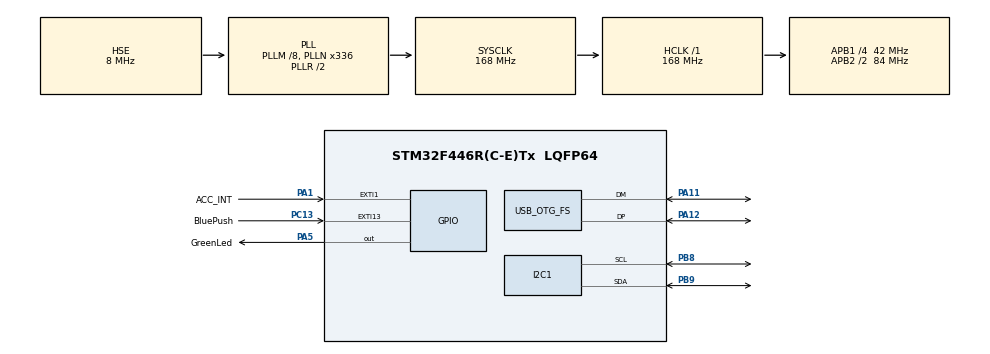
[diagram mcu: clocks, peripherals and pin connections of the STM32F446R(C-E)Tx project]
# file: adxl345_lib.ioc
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Mcu.Family=STM32F4
Mcu.Name=STM32F446R(C-E)Tx
Mcu.Package=LQFP64
NVIC.EXTI15_10_IRQn=true\:0\:0\:false\:false\:true\:true\:true
NVIC.EXTI1_IRQn=true\:0\:0\:false\:false\:true\:true\:true
NVIC.OTG_FS_IRQn=true\:0\:0\:false\:false\:true\:false\:true
NVIC.PriorityGroup=NVIC_PRIORITYGROUP_0
PA1.GPIO_Label=ACC_INT
PA1.GPIO_ModeDefaultEXTI=GPIO_MODE_IT_RISING_FALLING
PA1.Signal=GPXTI1
PA11.Mode=Device_Only
PA11.Signal=USB_OTG_FS_DM
PA12.Mode=Device_Only
PA12.Signal=USB_OTG_FS_DP
PA13.GPIO_Label=TMS
PA13.Mode=Serial_Wire
PA13.Signal=SYS_JTMS-SWDIO
PA14.GPIO_Label=TCK
PA14.Mode=Serial_Wire
PA14.Signal=SYS_JTCK-SWCLK
PA2.GPIO_Label=USART_TX
PA2.Signal=USART2_TX
PA3.GPIO_Label=USART_RX
PA3.Signal=USART2_RX
PA5.GPIO_Label=GreenLed
PA5.Signal=GPIO_Output
PB3.GPIO_Label=SWO
PB3.Signal=SYS_JTDO-SWO
PB8.Mode=I2C
PB8.Signal=I2C1_SCL
PB9.Mode=I2C
PB9.Signal=I2C1_SDA
PC13.GPIO_Label=BluePush
PC13.GPIO_ModeDefaultEXTI=GPIO_MODE_IT_FALLING
PC13.Signal=GPXTI13
PC14-OSC32_IN.Signal=RCC_OSC32_IN
PC15-OSC32_OUT.Signal=RCC_OSC32_OUT
PH0-OSC_IN.Mode=HSE-External-Oscillator
PH0-OSC_IN.Signal=RCC_OSC_IN
PH1-OSC_OUT.Mode=HSE-External-Oscillator
PH1-OSC_OUT.Signal=RCC_OSC_OUT
ProjectManager.HeapSize=0x200
ProjectManager.StackSize=0x400
ProjectManager.TargetToolchain=STM32CubeIDE
RCC.AHBFreq_Value=168000000
RCC.APB1CLKDivider=RCC_HCLK_DIV4
RCC.APB1Freq_Value=42000000
RCC.APB1TimFreq_Value=84000000
RCC.APB2CLKDivider=RCC_HCLK_DIV2
RCC.APB2Freq_Value=84000000
RCC.APB2TimFreq_Value=168000000
RCC.CortexFreq_Value=168000000
RCC.FLatency-AdvancedSettings=FLASH_LATENCY_5
RCC.HCLKFreq_Value=168000000
RCC.HSE_VALUE=8000000
RCC.HSI_VALUE=16000000
RCC.LSE_VALUE=32768
RCC.PLLM=8
RCC.PLLN=336
RCC.PLLQ=7
RCC.SYSCLKFreq_VALUE=168000000
RCC.SYSCLKSource=RCC_SYSCLKSOURCE_PLLRCLK
RCC.USBFreq_Value=48000000
RCC.VCOOutputFreq_Value=336000000
USB_DEVICE.CLASS_NAME_FS=CDC
USB_DEVICE.VirtualMode-CDC_FS=Cdc
USB_DEVICE.VirtualModeFS=Cdc_FS
USB_OTG_FS.VirtualMode=Device_Only
VP_USB_DEVICE_VS_USB_DEVICE_CDC_FS.Mode=CDC_FS
board=NUCLEO-F446RE

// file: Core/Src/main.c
/* USER CODE BEGIN Header */
/**
  ******************************************************************************
  * @file           : main.c
  * @brief          : Main program body
  ******************************************************************************
  * @attention
  *
  * <h2><center>&copy; Copyright (c) 2021 STMicroelectronics.
  * All rights reserved.</center></h2>
  *
  * This software component is licensed by ST under BSD 3-Clause license,
  * the "License"; You may not use this file except in compliance with the
  * License. You may obtain a copy of the License at:
  *                        opensource.org/licenses/BSD-3-Clause
  *
  ******************************************************************************
  */
/* USER CODE END Header */
#include "main.h"
#include "usb_device.h"

/* USER CODE BEGIN Includes */
// Included in order to use the usb virtual com port
#include "usbd_cdc_if.h"
#include "adxl345.h"

/* USER CODE END Includes */

/* USER CODE BEGIN PD */
#define SAMPLE_TIME_LOG_MS 100
/* USER CODE END PD */

I2C_HandleTypeDef hi2c1;

/* USER CODE BEGIN PV */
ADXL345 acc;

uint8_t accDataReady;
/* USER CODE END PV */

void SystemClock_Config(void);
static void MX_GPIO_Init(void);
static void MX_I2C1_Init(void);

/* USER CODE BEGIN 0 */
void HAL_GPIO_EXTI_Callback(uint16_t GPIO_Pin){

	if ( GPIO_Pin == ACC_INT_Pin ) {
			/* Set data ready flag (checked in main while() loop) */
			accDataReady = 1;
		}
	/* Check Blue Push button if presses */
	if ( GPIO_Pin == BluePush_Pin ) {
			/* Toggle LED */
			HAL_GPIO_TogglePin(GreenLed_GPIO_Port, GreenLed_Pin);
			accDataReady = 1;
			}
}

/* USER CODE END 0 */

int main(void)
{

  /* MCU Configuration--------------------------------------------------------*/

  /* Reset of all peripherals, Initializes the Flash interface and the Systick. */
  HAL_Init();

  /* Configure the system clock */
  SystemClock_Config();

  /* Initialize all configured peripherals */
  MX_GPIO_Init();
  MX_I2C1_Init();
  MX_USB_DEVICE_Init();
  /* USER CODE BEGIN 2 */

  /* Initialize accelerometer */
  uint8_t comErrors = 0;
  comErrors = ADXL345_Initialise(&acc, &hi2c1);

  /* USB data buffer */
  char usbBuf[64];

  /* Timers */
  uint32_t timerLog;

  /* USER CODE END 2 */

  /* Infinite loop */
  while (1)
  {

    /* USER CODE BEGIN 3 */

	  /* Sample & send accelerometer readings via virtual COM port (USB) */
	  if ((HAL_GetTick() - timerLog) >= SAMPLE_TIME_LOG_MS){

		  ADXL345_ReadAcceleration(&acc);

		  // Logging via COM PORT
		  uint8_t usbBufLen = snprintf(usbBuf, 64, "%.2f,%.2f,%.2f\r\n",
				  acc.acc_mps2[0], acc.acc_mps2[1], acc.acc_mps2[2]);
		  CDC_Transmit_FS((uint8_t *) usbBuf, usbBufLen);

		  timerLog += SAMPLE_TIME_LOG_MS;
	  }

	  /* Toggle LED */
//	  if ((HAL_GetTick() - timerLED) >= SAMPLE_TIME_LED_MS){
//
//		  HAL_GPIO_TogglePin(LED_GPIO_Port, LED_Pin);
//
//		  timerLED += SAMPLE_TIME_LED_MS;
//	  }

  }
  /* USER CODE END 3 */
}

void SystemClock_Config(void)
{
  RCC_OscInitTypeDef RCC_OscInitStruct = {0};
  RCC_ClkInitTypeDef RCC_ClkInitStruct = {0};

  /** Configure the main internal regulator output voltage
  */
  __HAL_RCC_PWR_CLK_ENABLE();
  __HAL_PWR_VOLTAGESCALING_CONFIG(PWR_REGULATOR_VOLTAGE_SCALE1);
  /** Initializes the RCC Oscillators according to the specified parameters
  * in the RCC_OscInitTypeDef structure.
  */
  RCC_OscInitStruct.OscillatorType = RCC_OSCILLATORTYPE_HSE;
  RCC_OscInitStruct.HSEState = RCC_HSE_ON;
  RCC_OscInitStruct.PLL.PLLState = RCC_PLL_ON;
  RCC_OscInitStruct.PLL.PLLSource = RCC_PLLSOURCE_HSE;
  RCC_OscInitStruct.PLL.PLLM = 8;
  RCC_OscInitStruct.PLL.PLLN = 336;
  RCC_OscInitStruct.PLL.PLLP = RCC_PLLP_DIV2;
  RCC_OscInitStruct.PLL.PLLQ = 7;
  RCC_OscInitStruct.PLL.PLLR = 2;
  if (HAL_RCC_OscConfig(&RCC_OscInitStruct) != HAL_OK)
  {
    Error_Handler();
  }
  /** Initializes the CPU, AHB and APB buses clocks
  */
  RCC_ClkInitStruct.ClockType = RCC_CLOCKTYPE_HCLK|RCC_CLOCKTYPE_SYSCLK
                              |RCC_CLOCKTYPE_PCLK1|RCC_CLOCKTYPE_PCLK2;
  RCC_ClkInitStruct.SYSCLKSource = RCC_SYSCLKSOURCE_PLLRCLK;
  RCC_ClkInitStruct.AHBCLKDivider = RCC_SYSCLK_DIV1;
  RCC_ClkInitStruct.APB1CLKDivider = RCC_HCLK_DIV4;
  RCC_ClkInitStruct.APB2CLKDivider = RCC_HCLK_DIV2;

  if (HAL_RCC_ClockConfig(&RCC_ClkInitStruct, FLASH_LATENCY_5) != HAL_OK)
  {
    Error_Handler();
  }
}

static void MX_I2C1_Init(void)
{

  hi2c1.Instance = I2C1;
  hi2c1.Init.ClockSpeed = 100000;
  hi2c1.Init.DutyCycle = I2C_DUTYCYCLE_2;
  hi2c1.Init.OwnAddress1 = 0;
  hi2c1.Init.AddressingMode = I2C_ADDRESSINGMODE_7BIT;
  hi2c1.Init.DualAddressMode = I2C_DUALADDRESS_DISABLE;
  hi2c1.Init.OwnAddress2 = 0;
  hi2c1.Init.GeneralCallMode = I2C_GENERALCALL_DISABLE;
  hi2c1.Init.NoStretchMode = I2C_NOSTRETCH_DISABLE;
  if (HAL_I2C_Init(&hi2c1) != HAL_OK)
  {
    Error_Handler();
  }

}

static void MX_GPIO_Init(void)
{
  GPIO_InitTypeDef GPIO_InitStruct = {0};

  /* GPIO Ports Clock Enable */
  __HAL_RCC_GPIOC_CLK_ENABLE();
  __HAL_RCC_GPIOH_CLK_ENABLE();
  __HAL_RCC_GPIOA_CLK_ENABLE();
  __HAL_RCC_GPIOB_CLK_ENABLE();

  /*Configure GPIO pin Output Level */
  HAL_GPIO_WritePin(GreenLed_GPIO_Port, GreenLed_Pin, GPIO_PIN_RESET);

  /*Configure GPIO pin : BluePush_Pin */
  GPIO_InitStruct.Pin = BluePush_Pin;
  GPIO_InitStruct.Mode = GPIO_MODE_IT_FALLING;
  GPIO_InitStruct.Pull = GPIO_NOPULL;
  HAL_GPIO_Init(BluePush_GPIO_Port, &GPIO_InitStruct);

  /*Configure GPIO pin : ACC_INT_Pin */
  GPIO_InitStruct.Pin = ACC_INT_Pin;
  GPIO_InitStruct.Mode = GPIO_MODE_IT_RISING_FALLING;
  GPIO_InitStruct.Pull = GPIO_NOPULL;
  HAL_GPIO_Init(ACC_INT_GPIO_Port, &GPIO_InitStruct);

  /*Configure GPIO pins : USART_TX_Pin USART_RX_Pin */
  GPIO_InitStruct.Pin = USART_TX_Pin|USART_RX_Pin;
  GPIO_InitStruct.Mode = GPIO_MODE_AF_PP;
  GPIO_InitStruct.Pull = GPIO_NOPULL;
  GPIO_InitStruct.Speed = GPIO_SPEED_FREQ_VERY_HIGH;
  GPIO_InitStruct.Alternate = GPIO_AF7_USART2;
  HAL_GPIO_Init(GPIOA, &GPIO_InitStruct);

  /*Configure GPIO pin : GreenLed_Pin */
  GPIO_InitStruct.Pin = GreenLed_Pin;
  GPIO_InitStruct.Mode = GPIO_MODE_OUTPUT_PP;
  GPIO_InitStruct.Pull = GPIO_NOPULL;
  GPIO_InitStruct.Speed = GPIO_SPEED_FREQ_LOW;
  HAL_GPIO_Init(GreenLed_GPIO_Port, &GPIO_InitStruct);

  /* EXTI interrupt init*/
  HAL_NVIC_SetPriority(EXTI1_IRQn, 0, 0);
  HAL_NVIC_EnableIRQ(EXTI1_IRQn);

  HAL_NVIC_SetPriority(EXTI15_10_IRQn, 0, 0);
  HAL_NVIC_EnableIRQ(EXTI15_10_IRQn);

}

void Error_Handler(void)
{
  __disable_irq();
  while (1)
  {
  }
}
